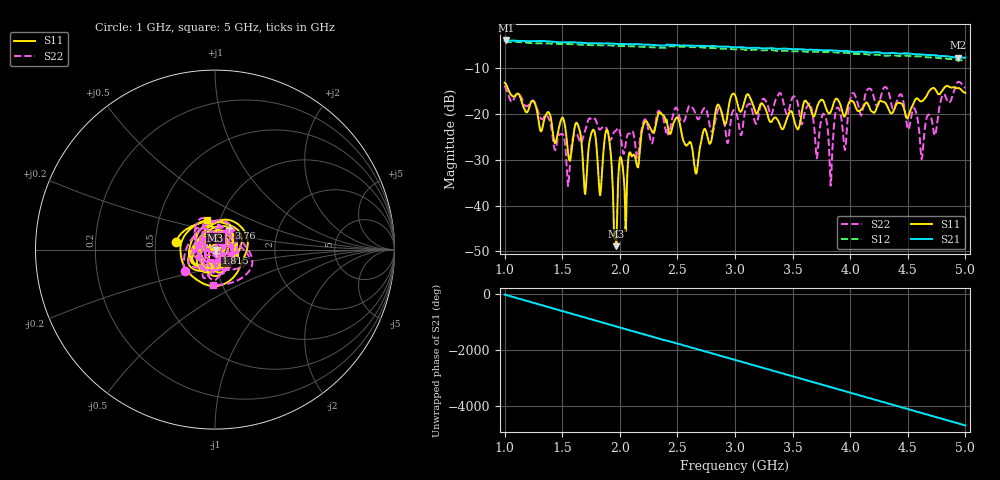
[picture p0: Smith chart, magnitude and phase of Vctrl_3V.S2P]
! C:\Users\Aljaz\OneDrive - Univerza v Ljubljani\DOKTORAT\NOVI TG\PIN AGC ATT\meritve_BAP64Q\Vctrl_3V.S2P
! Touchstone 1.1 file saved by VNA.EXE V1.65 (www.ke5fx.com/gpib/readme.htm)
! 22. 10. 2022 12:14:29
!  Source: HP8510C.07.14: Aug 26  1998
!  Min freq: 1.000000E+009 Hz
!  Max freq: 5.000000E+009 Hz
!  Points: 801
!  Params: S11 S21 S12 S22
# GHZ S DB R 50
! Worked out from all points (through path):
!   801 points, 1 GHz to 5 GHz, reference 50 ohm
!   highest |S21| = -3.88 dB at 1.015 GHz (marker M1); lowest = -7.7 dB at 4.935 GHz (marker M2)
!   lowest |S11| = -48.9 dB at 1.97 GHz (marker M3), VSWR 1.01, Z = 50.3 - j0.192 ohm
!   |S11| at or under -10 dB: start of sweep to end of sweep
!   |S22| runs from -35.7 to -12.9 dB; largest |S21 - S12| = 0.66
!   S11 on the Smith chart (normalised r, x): 1 GHz: 0.64, +0.06; 1.815 GHz: 1.01, -0.04; 3.76 GHz: 1.13, +0.28; 5 GHz: 0.86, +0.29
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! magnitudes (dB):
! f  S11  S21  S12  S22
! 1 GHz  -13.1  -3.9  -4.2  -13.7
! 1.015 GHz  -13.6  -3.9  -4.2  -14.6
! 1.55 GHz  -28.2  -4.3  -4.7  -35.7
! 1.67 GHz  -26.9  -4.4  -4.8  -26.1
! 1.7 GHz  -37.5  -4.5  -4.9  -23.5
! 1.77 GHz  -23.4  -4.5  -4.9  -21.1
! 1.815 GHz  -33.6  -4.5  -4.9  -23.1
! 1.895 GHz  -23.7  -4.5  -5.0  -23.8
! 1.97 GHz  -48.9  -4.6  -5.1  -23.5
! 2.005 GHz  -29.3  -4.7  -5.1  -24.4
! 2.05 GHz  -45.6  -4.7  -5.1  -26.7
! 2.335 GHz  -19.9  -5.0  -5.5  -19.3
! 2.66 GHz  -33.0  -5.0  -5.4  -20.1
! 3 GHz  -15.8  -5.4  -5.8  -19.3
! 3.67 GHz  -19.9  -5.9  -6.3  -19.4
! 3.76 GHz  -16.9  -6.0  -6.4  -20.1
! 3.83 GHz  -19.6  -6.1  -6.5  -35.6
! 3.89 GHz  -16.7  -6.1  -6.5  -18.5
! 4.335 GHz  -19.0  -6.7  -7.2  -15.3
! 4.62 GHz  -17.2  -6.9  -7.4  -29.8
! 4.935 GHz  -14.3  -7.7  -8.2  -13.0
! 5 GHz  -15.4  -7.6  -8.1  -14.1
